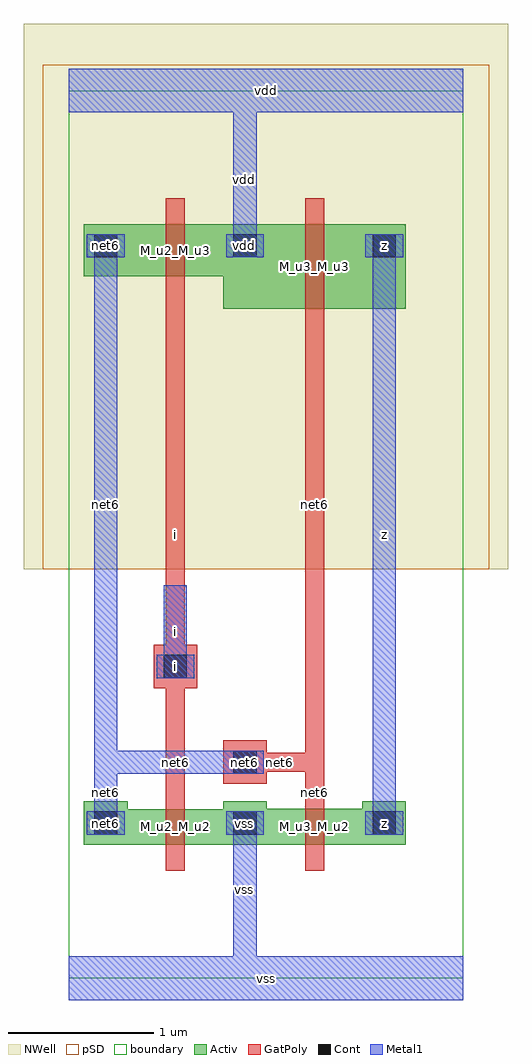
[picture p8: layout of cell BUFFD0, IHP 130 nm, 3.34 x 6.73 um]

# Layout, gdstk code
import gdstk
lib = gdstk.Library(unit=1e-6, precision=1e-09)
def R(c, l, rs):  # rectangles x0, y0, x1, y1
    for r in rs: c.add(gdstk.rectangle(r[:2], r[2:], *l))
def A(c, l, x, y, w, h, nx, ny, dx, dy):  # array of equal rectangles
    R(c, l, [(x+i*dx, y+j*dy, x+i*dx+w, y+j*dy+h) for i in range(nx) for j in range(ny)])
Activ = (1, 0)
GatPoly = (5, 0)
Cont = (6, 0)
Metal1 = (8, 0)
pSD = (14, 0)
NWell = (31, 0)
TEXT = (63, 0)
boundary = (189, 4)

buffd0 = lib.new_cell('BUFFD0')
A(buffd0, Activ, 0.105, 0.92, 0.3, 0.3, 3, 2, 0.96, 3.98)
R(buffd0, Activ, [(0.105,0.92,1.365,1.165), (1.065,0.92,2.325,1.17), (1.065,4.615,2.325,5.2), (0.105,4.84,1.365,5.2)])
R(buffd0, GatPoly, [(0.67,0.74,0.8,1.345), (1.63,0.74,1.76,1.35), (0.67,1.005,0.8,5.115), (1.63,1.005,1.76,1.555), (1.065,1.34,1.365,1.64), (1.15,1.425,1.76,1.555), (1.63,1.425,1.76,5.115), (0.585,2,0.885,2.3), (1.63,4.435,1.76,5.38), (0.67,4.66,0.8,5.38)])
A(buffd0, Cont, 0.175, 0.99, 0.16, 0.16, 3, 2, 0.96, 3.98)
R(buffd0, Cont, [(1.135,1.41,1.295,1.57), (0.655,2.07,0.815,2.23)])
A(buffd0, Metal1, 0.125, 0.99, 0.26, 0.16, 3, 2, 0.96, 3.98)
R(buffd0, Metal1, [(0,-0.15,2.72,0.15), (1.135,0.07,1.295,1.15), (0.175,0.99,0.335,1.57), (2.095,0.99,2.255,5.13), (0.175,1.41,1.295,1.57), (0.175,1.41,0.335,5.13), (1.085,1.41,1.345,1.57), (0.605,2.07,0.865,2.23), (0.655,2.07,0.815,2.71), (1.135,4.97,1.295,6.05), (0,5.97,2.72,6.27)])
R(buffd0, pSD, [(-0.18,2.82,2.9,5.94), (-0.18,5.94,2.9,6.3)])
R(buffd0, NWell, [(-0.31,2.82,3.03,6.58)])
R(buffd0, boundary, [(0,0,2.72,6.12)])
buffd0.add(gdstk.FlexPath([(0.105,0.41),(2.325,0.41)], 0, ends="flush", simple_path=True, layer=63, datatype=0))  # TEXT
buffd0.add(gdstk.FlexPath([(0.105,1.07),(2.325,1.07)], 0, ends="flush", simple_path=True, layer=63, datatype=0))  # TEXT
buffd0.add(gdstk.FlexPath([(0.105,1.49),(2.325,1.49)], 0, ends="flush", simple_path=True, layer=63, datatype=0))  # TEXT
buffd0.add(gdstk.FlexPath([(0.105,2.15),(2.325,2.15)], 0, ends="flush", simple_path=True, layer=63, datatype=0))  # TEXT
buffd0.add(gdstk.FlexPath([(0.105,2.63),(2.325,2.63)], 0, ends="flush", simple_path=True, layer=63, datatype=0))  # TEXT
buffd0.add(gdstk.FlexPath([(0.105,3.11),(2.325,3.11)], 0, ends="flush", simple_path=True, layer=63, datatype=0))  # TEXT
buffd0.add(gdstk.FlexPath([(0.105,4.15),(2.325,4.15)], 0, ends="flush", simple_path=True, layer=63, datatype=0))  # TEXT
buffd0.add(gdstk.FlexPath([(0.105,4.71),(2.325,4.71)], 0, ends="flush", simple_path=True, layer=63, datatype=0))  # TEXT
buffd0.add(gdstk.FlexPath([(0.105,5.05),(2.325,5.05)], 0, ends="flush", simple_path=True, layer=63, datatype=0))  # TEXT
buffd0.add(gdstk.FlexPath([(0.105,5.71),(2.325,5.71)], 0, ends="flush", simple_path=True, layer=63, datatype=0))  # TEXT
buffd0.add(gdstk.FlexPath([(0.255,0.07),(0.255,6.05)], 0, ends="flush", simple_path=True, layer=63, datatype=0))  # TEXT
buffd0.add(gdstk.FlexPath([(0.735,0.07),(0.735,6.05)], 0, ends="flush", simple_path=True, layer=63, datatype=0))  # TEXT
buffd0.add(gdstk.FlexPath([(1.215,0.07),(1.215,6.05)], 0, ends="flush", simple_path=True, layer=63, datatype=0))  # TEXT
buffd0.add(gdstk.FlexPath([(1.695,0.07),(1.695,6.05)], 0, ends="flush", simple_path=True, layer=63, datatype=0))  # TEXT
buffd0.add(gdstk.FlexPath([(2.175,0.07),(2.175,6.05)], 0, ends="flush", simple_path=True, layer=63, datatype=0))  # TEXT
buffd0.add(gdstk.Label('z', (2.175,1.07), layer=6, texttype=0))
buffd0.add(gdstk.Label('z', (2.175,5.05), layer=6, texttype=0))
buffd0.add(gdstk.Label('net6', (0.255,1.07), layer=6, texttype=0))
buffd0.add(gdstk.Label('net6', (0.255,5.05), layer=6, texttype=0))
buffd0.add(gdstk.Label('net6', (1.215,1.49), layer=6, texttype=0))
buffd0.add(gdstk.Label('i', (0.735,2.15), layer=6, texttype=0))
buffd0.add(gdstk.Label('vss', (1.215,1.07), layer=6, texttype=0))
buffd0.add(gdstk.Label('vdd', (1.215,5.05), layer=6, texttype=0))
buffd0.add(gdstk.Label('net6', (0.255,1.07), layer=8, texttype=0))
buffd0.add(gdstk.Label('net6', (0.255,5.05), layer=8, texttype=0))
buffd0.add(gdstk.Label('net6', (1.215,1.49), layer=8, texttype=0))
buffd0.add(gdstk.Label('net6', (0.735,1.49), layer=8, texttype=0))
buffd0.add(gdstk.Label('net6', (0.255,1.28), layer=8, texttype=0))
buffd0.add(gdstk.Label('net6', (0.255,3.27), layer=8, texttype=0))
buffd0.add(gdstk.Label('vss', (1.215,1.07), layer=8, texttype=0))
buffd0.add(gdstk.Label('vss', (1.215,0.61), layer=8, texttype=0))
buffd0.add(gdstk.Label('vdd', (1.215,5.05), layer=8, texttype=0))
buffd0.add(gdstk.Label('vdd', (1.215,5.51), layer=8, texttype=0))
buffd0.add(gdstk.Label('z', (2.175,1.07), layer=8, texttype=2))
buffd0.add(gdstk.Label('z', (2.175,5.05), layer=8, texttype=2))
buffd0.add(gdstk.Label('z', (2.175,3.06), layer=8, texttype=2))
buffd0.add(gdstk.Label('i', (0.735,2.15), layer=8, texttype=2))
buffd0.add(gdstk.Label('i', (0.735,2.39), layer=8, texttype=2))
buffd0.add(gdstk.Label('vss', (1.36,0), layer=8, texttype=2))
buffd0.add(gdstk.Label('vdd', (1.36,6.12), layer=8, texttype=2))
buffd0.add(gdstk.Label('z', (2.175,1.07), layer=8, texttype=2))
buffd0.add(gdstk.Label('z', (2.175,5.05), layer=8, texttype=2))
buffd0.add(gdstk.Label('z', (2.175,3.06), layer=8, texttype=2))
buffd0.add(gdstk.Label('i', (0.735,2.15), layer=8, texttype=2))
buffd0.add(gdstk.Label('i', (0.735,2.39), layer=8, texttype=2))
buffd0.add(gdstk.Label('vss', (1.36,0), layer=8, texttype=2))
buffd0.add(gdstk.Label('vdd', (1.36,6.12), layer=8, texttype=2))
buffd0.add(gdstk.Label('M_u3_M_u2', (1.695,1.045), layer=1, texttype=0))
buffd0.add(gdstk.Label('M_u2_M_u2', (0.735,1.043), layer=1, texttype=0))
buffd0.add(gdstk.Label('M_u3_M_u3', (1.695,4.908), layer=1, texttype=0))
buffd0.add(gdstk.Label('M_u2_M_u3', (0.735,5.02), layer=1, texttype=0))
buffd0.add(gdstk.Label('z', (2.175,1.07), layer=1, texttype=0))
buffd0.add(gdstk.Label('z', (2.175,5.05), layer=1, texttype=0))
buffd0.add(gdstk.Label('net6', (0.255,1.07), layer=1, texttype=0))
buffd0.add(gdstk.Label('net6', (0.255,5.05), layer=1, texttype=0))
buffd0.add(gdstk.Label('vss', (1.215,1.07), layer=1, texttype=0))
buffd0.add(gdstk.Label('vdd', (1.215,5.05), layer=1, texttype=0))
buffd0.add(gdstk.Label('z', (2.175,1.07), layer=8, texttype=25))
buffd0.add(gdstk.Label('z', (2.175,5.05), layer=8, texttype=25))
buffd0.add(gdstk.Label('z', (2.175,3.06), layer=8, texttype=25))
buffd0.add(gdstk.Label('i', (0.735,2.15), layer=8, texttype=25))
buffd0.add(gdstk.Label('i', (0.735,2.39), layer=8, texttype=25))
buffd0.add(gdstk.Label('vss', (1.36,0), layer=8, texttype=25))
buffd0.add(gdstk.Label('vdd', (1.36,6.12), layer=8, texttype=25))
buffd0.add(gdstk.Label('net6', (1.695,1.28), layer=5, texttype=0))
buffd0.add(gdstk.Label('net6', (1.455,1.49), layer=5, texttype=0))
buffd0.add(gdstk.Label('net6', (1.215,1.49), layer=5, texttype=0))
buffd0.add(gdstk.Label('net6', (1.695,3.27), layer=5, texttype=0))
buffd0.add(gdstk.Label('i', (0.735,3.06), layer=5, texttype=0))
buffd0.add(gdstk.Label('i', (0.735,2.15), layer=5, texttype=0))

lib.write_gds('BUFFD0.gds')
